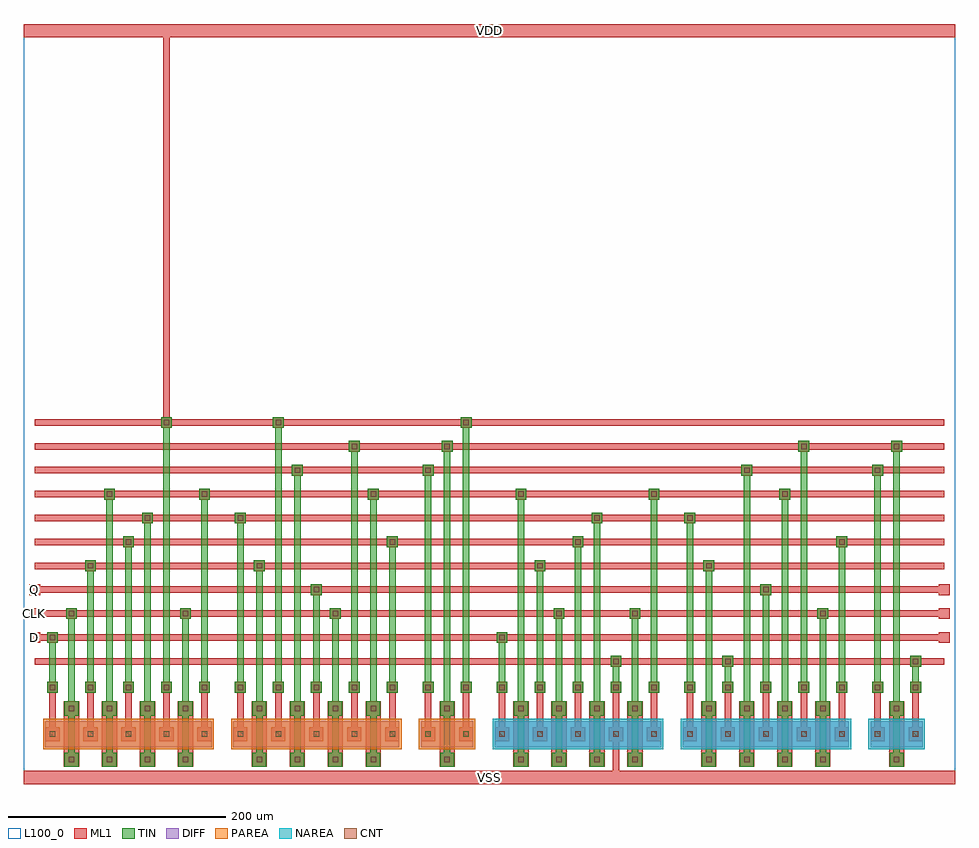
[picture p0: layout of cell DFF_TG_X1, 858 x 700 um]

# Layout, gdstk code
import gdstk
lib = gdstk.Library(unit=1e-6, precision=1e-09)
def R(c, l, rs):  # rectangles x0, y0, x1, y1
    for r in rs: c.add(gdstk.rectangle(r[:2], r[2:], *l))
def A(c, l, x, y, w, h, nx, ny, dx, dy):  # array of equal rectangles
    R(c, l, [(x+i*dx, y+j*dy, x+i*dx+w, y+j*dy+h) for i in range(nx) for j in range(ny)])
DIFF = (3, 0)
TIN = (5, 0)
CNT = (7, 0)
ML1 = (8, 0)
PAREA = (18, 0)
NAREA = (19, 0)
L100_0 = (100, 0)

dff_tg_x1 = lib.new_cell('DFF_TG_X1')
R(dff_tg_x1, DIFF, [(20,34,173,58), (193,34,346,58), (366,34,414,58), (434,34,587,58), (607,34,760,58), (780,34,828,58)])
A(dff_tg_x1, TIN, 37.5, 16, 13, 13, 4, 2, 35, 47)
A(dff_tg_x1, TIN, 210.5, 16, 13, 13, 4, 2, 35, 47)
A(dff_tg_x1, TIN, 451.5, 16, 13, 13, 4, 2, 35, 47)
A(dff_tg_x1, TIN, 624.5, 16, 13, 13, 4, 2, 35, 47)
A(dff_tg_x1, TIN, 41, 28, 6, 37.5, 4, 1, 35, 0)
A(dff_tg_x1, TIN, 214, 28, 6, 37.5, 4, 1, 35, 0)
A(dff_tg_x1, TIN, 455, 28, 6, 37.5, 4, 1, 35, 0)
A(dff_tg_x1, TIN, 628, 28, 6, 37.5, 4, 1, 35, 0)
A(dff_tg_x1, TIN, 21.5, 84, 10, 10, 5, 1, 35, 0)
A(dff_tg_x1, TIN, 194.5, 84, 10, 10, 5, 1, 35, 0)
A(dff_tg_x1, TIN, 435.5, 84, 10, 10, 5, 1, 35, 0)
A(dff_tg_x1, TIN, 608.5, 84, 10, 10, 5, 1, 35, 0)
R(dff_tg_x1, TIN, [(383.5,16,396.5,29), (797.5,16,810.5,29), (387,28,393,65.5), (801,28,807,65.5), (383.5,63,396.5,76), (797.5,63,810.5,76), (41,69.5,47,157), (76,69.5,82,267), (111,69.5,117,245), (146,69.5,152,157), (214,69.5,220,201), (249,69.5,255,289), (284,69.5,290,157), (319,69.5,325,267), (387,69.5,393,311), (455,69.5,461,267), (490,69.5,496,157), (525,69.5,531,245), (560,69.5,566,157), (628,69.5,634,201), (663,69.5,669,289), (698,69.5,704,267), (733,69.5,739,157), (801,69.5,807,311), (367.5,84,377.5,94), (402.5,84,412.5,94), (781.5,84,791.5,94), (816.5,84,826.5,94), (23.5,89,29.5,135), (58.5,89,64.5,201), (93.5,89,99.5,223), (128.5,89,134.5,333), (163.5,89,169.5,267), (196.5,89,202.5,245), (231.5,89,237.5,333), (266.5,89,272.5,179), (301.5,89,307.5,311), (336.5,89,342.5,223), (369.5,89,375.5,289), (404.5,89,410.5,333), (437.5,89,443.5,135), (472.5,89,478.5,201), (507.5,89,513.5,223), (542.5,89,548.5,113), (577.5,89,583.5,267), (610.5,89,616.5,245), (645.5,89,651.5,113), (680.5,89,686.5,179), (715.5,89,721.5,311), (750.5,89,756.5,223), (783.5,89,789.5,289), (818.5,89,824.5,113), (540.5,108,550.5,118), (643.5,108,653.5,118), (816.5,108,826.5,118), (21.5,130,31.5,140), (435.5,130,445.5,140), (39,152,49,162), (144,152,154,162), (282,152,292,162), (488,152,498,162), (558,152,568,162), (731,152,741,162), (264.5,174,274.5,184), (678.5,174,688.5,184), (56.5,196,66.5,206), (212,196,222,206), (470.5,196,480.5,206), (626,196,636,206), (91.5,218,101.5,228), (334.5,218,344.5,228), (505.5,218,515.5,228), (748.5,218,758.5,228), (109,240,119,250), (194.5,240,204.5,250), (523,240,533,250), (608.5,240,618.5,250), (74,262,84,272), (161.5,262,171.5,272), (317,262,327,272), (453,262,463,272), (575.5,262,585.5,272), (696,262,706,272), (247,284,257,294), (367.5,284,377.5,294), (661,284,671,294), (781.5,284,791.5,294), (299.5,306,309.5,316), (385,306,395,316), (713.5,306,723.5,316), (799,306,809,316), (126.5,328,136.5,338), (229.5,328,239.5,338), (402.5,328,412.5,338)])
A(dff_tg_x1, CNT, 41.5, 20, 5, 5, 4, 2, 35, 47)
A(dff_tg_x1, CNT, 214.5, 20, 5, 5, 4, 2, 35, 47)
A(dff_tg_x1, CNT, 455.5, 20, 5, 5, 4, 2, 35, 47)
A(dff_tg_x1, CNT, 628.5, 20, 5, 5, 4, 2, 35, 47)
A(dff_tg_x1, CNT, 24, 43.5, 5, 5, 5, 2, 35, 43)
A(dff_tg_x1, CNT, 197, 43.5, 5, 5, 5, 2, 35, 43)
A(dff_tg_x1, CNT, 438, 43.5, 5, 5, 5, 2, 35, 43)
A(dff_tg_x1, CNT, 611, 43.5, 5, 5, 5, 2, 35, 43)
R(dff_tg_x1, CNT, [(387.5,20,392.5,25), (801.5,20,806.5,25), (370,43.5,375,48.5), (405,43.5,410,48.5), (784,43.5,789,48.5), (819,43.5,824,48.5), (387.5,67,392.5,72), (801.5,67,806.5,72), (370,86.5,375,91.5), (405,86.5,410,91.5), (784,86.5,789,91.5), (819,86.5,824,91.5), (543,110.5,548,115.5), (646,110.5,651,115.5), (819,110.5,824,115.5), (24,132.5,29,137.5), (438,132.5,443,137.5), (41.5,154.5,46.5,159.5), (146.5,154.5,151.5,159.5), (284.5,154.5,289.5,159.5), (490.5,154.5,495.5,159.5), (560.5,154.5,565.5,159.5), (733.5,154.5,738.5,159.5), (267,176.5,272,181.5), (681,176.5,686,181.5), (59,198.5,64,203.5), (214.5,198.5,219.5,203.5), (473,198.5,478,203.5), (628.5,198.5,633.5,203.5), (94,220.5,99,225.5), (337,220.5,342,225.5), (508,220.5,513,225.5), (751,220.5,756,225.5), (111.5,242.5,116.5,247.5), (197,242.5,202,247.5), (525.5,242.5,530.5,247.5), (611,242.5,616,247.5), (76.5,264.5,81.5,269.5), (164,264.5,169,269.5), (319.5,264.5,324.5,269.5), (455.5,264.5,460.5,269.5), (578,264.5,583,269.5), (698.5,264.5,703.5,269.5), (249.5,286.5,254.5,291.5), (370,286.5,375,291.5), (663.5,286.5,668.5,291.5), (784,286.5,789,291.5), (302,308.5,307,313.5), (387.5,308.5,392.5,313.5), (716,308.5,721,313.5), (801.5,308.5,806.5,313.5), (129,330.5,134,335.5), (232,330.5,237,335.5), (405,330.5,410,335.5)])
A(dff_tg_x1, ML1, 37, 16, 14, 60, 4, 1, 35, 0)
A(dff_tg_x1, ML1, 37.5, 16, 13, 13, 4, 2, 35, 47)
A(dff_tg_x1, ML1, 210, 16, 14, 60, 4, 1, 35, 0)
A(dff_tg_x1, ML1, 210.5, 16, 13, 13, 4, 2, 35, 47)
A(dff_tg_x1, ML1, 451, 16, 14, 60, 4, 1, 35, 0)
A(dff_tg_x1, ML1, 451.5, 16, 13, 13, 4, 2, 35, 47)
A(dff_tg_x1, ML1, 624, 16, 14, 60, 4, 1, 35, 0)
A(dff_tg_x1, ML1, 624.5, 16, 13, 13, 4, 2, 35, 47)
A(dff_tg_x1, ML1, 20, 39.5, 13, 13, 5, 1, 35, 0)
A(dff_tg_x1, ML1, 193, 39.5, 13, 13, 5, 1, 35, 0)
A(dff_tg_x1, ML1, 434, 39.5, 13, 13, 5, 1, 35, 0)
A(dff_tg_x1, ML1, 607, 39.5, 13, 13, 5, 1, 35, 0)
A(dff_tg_x1, ML1, 23.5, 46, 6, 43, 5, 1, 35, 0)
A(dff_tg_x1, ML1, 196.5, 46, 6, 43, 5, 1, 35, 0)
A(dff_tg_x1, ML1, 437.5, 46, 6, 43, 5, 1, 35, 0)
A(dff_tg_x1, ML1, 610.5, 46, 6, 43, 5, 1, 35, 0)
A(dff_tg_x1, ML1, 21.5, 84, 10, 10, 5, 1, 35, 0)
A(dff_tg_x1, ML1, 194.5, 84, 10, 10, 5, 1, 35, 0)
A(dff_tg_x1, ML1, 435.5, 84, 10, 10, 5, 1, 35, 0)
A(dff_tg_x1, ML1, 608.5, 84, 10, 10, 5, 1, 35, 0)
A(dff_tg_x1, ML1, 10, 110, 838, 6, 1, 11, 0, 22)
A(dff_tg_x1, ML1, 5, 130, 10, 10, 1, 3, 0, 22)
A(dff_tg_x1, ML1, 843, 130, 10, 10, 1, 3, 0, 22)
R(dff_tg_x1, ML1, [(0,0,858,12), (542.5,3,548.5,92), (383,16,397,76), (383.5,16,396.5,29), (797,16,811,76), (797.5,16,810.5,29), (366,39.5,379,52.5), (401,39.5,414,52.5), (780,39.5,793,52.5), (815,39.5,828,52.5), (369.5,46,375.5,89), (404.5,46,410.5,89), (783.5,46,789.5,89), (818.5,46,824.5,89), (383.5,63,396.5,76), (797.5,63,810.5,76), (367.5,84,377.5,94), (402.5,84,412.5,94), (781.5,84,791.5,94), (816.5,84,826.5,94), (540.5,108,550.5,118), (643.5,108,653.5,118), (816.5,108,826.5,118), (21.5,130,31.5,140), (435.5,130,445.5,140), (39,152,49,162), (144,152,154,162), (282,152,292,162), (488,152,498,162), (558,152,568,162), (731,152,741,162), (264.5,174,274.5,184), (678.5,174,688.5,184), (56.5,196,66.5,206), (212,196,222,206), (470.5,196,480.5,206), (626,196,636,206), (91.5,218,101.5,228), (334.5,218,344.5,228), (505.5,218,515.5,228), (748.5,218,758.5,228), (109,240,119,250), (194.5,240,204.5,250), (523,240,533,250), (608.5,240,618.5,250), (74,262,84,272), (161.5,262,171.5,272), (317,262,327,272), (453,262,463,272), (575.5,262,585.5,272), (696,262,706,272), (247,284,257,294), (367.5,284,377.5,294), (661,284,671,294), (781.5,284,791.5,294), (299.5,306,309.5,316), (385,306,395,316), (713.5,306,723.5,316), (799,306,809,316), (126.5,328,136.5,338), (229.5,328,239.5,338), (402.5,328,412.5,338), (128.5,330,134.5,697), (0,688,858,700)])
R(dff_tg_x1, PAREA, [(18,32,175,60), (191,32,348,60), (364,32,416,60)])
R(dff_tg_x1, NAREA, [(432,32,589,60), (605,32,762,60), (778,32,830,60)])
R(dff_tg_x1, L100_0, [(0,0,858,700)])
dff_tg_x1.add(gdstk.Label('D', (10,135), layer=13, texttype=0))
dff_tg_x1.add(gdstk.Label('CLK', (10,157), layer=13, texttype=0))
dff_tg_x1.add(gdstk.Label('Q', (10,179), layer=13, texttype=0))
dff_tg_x1.add(gdstk.Label('VDD', (429,694), layer=13, texttype=0))
dff_tg_x1.add(gdstk.Label('VSS', (429,6), layer=13, texttype=0))

lib.write_gds('DFF_TG_X1.gds')
